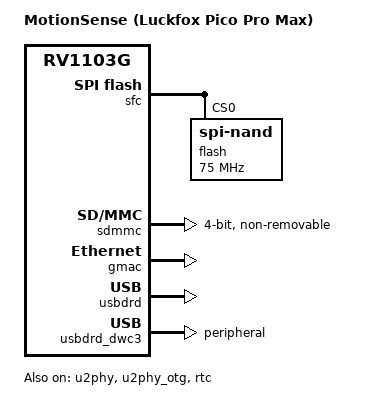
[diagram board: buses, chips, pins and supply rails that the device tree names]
// SPDX-License-Identifier: (GPL-2.0+ OR MIT)
/*
 * MotionSense — Luckfox Pico Pro Max carrier.
 *
 * Hardware is the stock Pro Max, so this only includes the vendor dtsi and
 * overrides what this product needs. Keeping it as a separate file means the
 * vendor's rv1106g-luckfox-pico-pro-max.dts never has to be edited, so
 * syncing upstream cannot conflict.
 *
 * Adding a .dts here needs no Makefile change: the kernel is built with
 * `make <name>.img`, which resolves through the generic %.dtb pattern rule.
 * None of the vendor luckfox dts files are listed in the dts Makefile either.
 */

/dts-v1/;

#include "rv1106.dtsi"
#include "rv1106-evb.dtsi"
#include "rv1106-luckfox-pico-pro-max-ipc.dtsi"

/ {
	model = "MotionSense (Luckfox Pico Pro Max)";
	compatible = "rockchip,rv1103g-38x38-ipc-v10", "rockchip,rv1106g3";
};

/**********FLASH**********/
&sfc {
	status = "okay";
	flash@0 {
		compatible = "spi-nand";
		reg = <0>;
		spi-max-frequency = <75000000>;
		spi-rx-bus-width = <4>;
		spi-tx-bus-width = <1>;
	};
};

/**********SDMMC**********/
/*
 * The vendor Pro Max dts spells this property "max-freqency", so it is
 * ignored and the controller inherits max-frequency = <200000000> from
 * rv1106.dtsi. Spelled correctly here. no-1-8-v keeps SD/SDIO at 50MHz
 * regardless, so this is about the property doing what it says.
 */
&sdmmc {
	max-frequency = <50000000>;
	no-mmc;
	bus-width = <4>;
	cap-mmc-highspeed;
	cap-sd-highspeed;
	disable-wp;

	//sdio
	cap-sdio-irq;
	non-removable;
	no-1-8-v;
	supports-sdio;

	pinctrl-names = "default";
	pinctrl-0 = <&sdmmc0_clk &sdmmc0_cmd &sdmmc0_det &sdmmc0_bus4>;
	status = "okay";
};

/**********ETH**********/
&gmac {
	status = "okay";
};

/**********USB**********/
&u2phy {
	status = "okay";
};

&u2phy_otg {
	rockchip,dis-u2-susphy;
	status = "okay";
};

&usbdrd {
	status = "okay";
};

&usbdrd_dwc3 {
	status = "okay";
	dr_mode = "peripheral";
};

/**********RTC**********/
&rtc {
	status = "okay";
};
